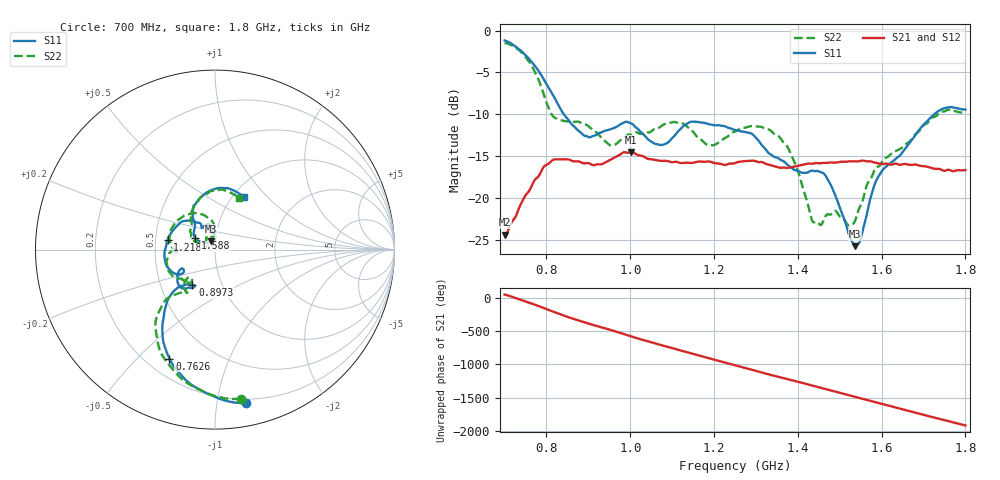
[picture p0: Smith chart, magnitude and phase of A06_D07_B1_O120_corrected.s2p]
! Created with skrf 1.9.0 (http://scikit-rf.org).
# Hz S RI R 50.0
!freq ReS11 ImS11 ReS21 ImS21 ReS12 ImS12 ReS22 ImS22
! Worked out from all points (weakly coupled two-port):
!   1601 points, 700 MHz to 1.8 GHz, reference 50 ohm
!   highest |S21| = -14.51 dB at 1.002 GHz (marker M1); lowest = -24.4 dB at 700.7 MHz (marker M2)
!   lowest |S11| = -25.8 dB at 1.536 GHz (marker M3), VSWR 1.11, Z = 47.6 + j4.4 ohm
!   |S11| at or under -10 dB: 841.2 MHz to 1.726 GHz (884.5 MHz wide, 68.9 % of centre)
!   |S22| runs from -23.3 to -1.5 dB; largest |S21 - S12| = 0.0036
!   S11 on the Smith chart (normalised r, x): 700 MHz: 0.17, -1.21; 762.6 MHz: 0.29, -0.63; 897.3 MHz: 0.72, -0.30; 1.218 GHz: 0.58, +0.07; 1.588 GHz: 0.80, +0.10; 1.8 GHz: 1.12, +0.75
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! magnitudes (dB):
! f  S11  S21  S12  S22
! 700 MHz  -1.2  -24.4  -24.2  -1.5
! 700.7 MHz  -1.2  -24.4  -24.1  -1.5
! 762.6 MHz  -3.6  -18.8  -18.8  -4.0
! 816.2 MHz  -7.8  -15.5  -15.6  -10.3
! 883.6 MHz  -12.3  -15.8  -15.7  -11.1
! 897.3 MHz  -12.7  -15.8  -15.9  -11.3
! 953.7 MHz  -11.8  -15.4  -15.4  -13.7
! 1.002 GHz  -11.1  -14.5  -14.6  -12.5
! 1.067 GHz  -13.6  -15.5  -15.5  -11.6
! 1.143 GHz  -10.9  -15.8  -15.8  -11.8
! 1.218 GHz  -11.4  -16.0  -16.0  -13.2
! 1.25 GHz  -11.9  -15.8  -15.8  -12.1
! 1.357 GHz  -15.4  -16.4  -16.3  -12.8
! 1.396 GHz  -16.7  -16.2  -16.2  -16.1
! 1.434 GHz  -16.7  -15.9  -15.9  -22.6
! 1.473 GHz  -17.9  -15.8  -15.8  -22.0
! 1.536 GHz  -25.8  -15.6  -15.6  -22.8
! 1.55 GHz  -24.9  -15.6  -15.6  -20.9
! 1.588 GHz  -17.9  -15.8  -15.8  -16.4
! 1.617 GHz  -16.0  -16.0  -15.9  -15.0
! 1.733 GHz  -9.7  -16.5  -16.6  -10.1
! 1.8 GHz  -9.4  -16.7  -16.7  -10.0
